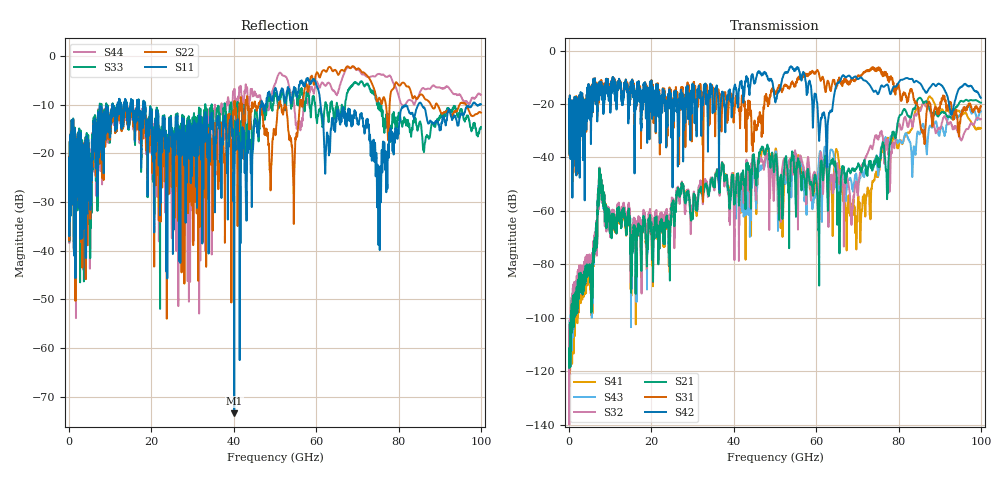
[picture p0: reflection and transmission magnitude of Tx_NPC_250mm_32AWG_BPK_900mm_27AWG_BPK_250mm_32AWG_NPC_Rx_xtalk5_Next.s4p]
! Info: Touchstone file created by Circ.  Input file=Tx_NPC_250mm_32AWG_BPK_900mm_27AWG_BPK_250mm_32AWG_NPC_Rx.circ
# Hz S RI R 50
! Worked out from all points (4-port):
!   10000 points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, 10 MHz to 100 GHz, reference 50 ohm
!   strongest paths, dB at 10 MHz, 25.01 GHz, 50.01 GHz, 75.01 GHz, 100 GHz:
!     S42: -27.5, -19.4, -18.3, -16.3, -17.6
!     S31: -27.5, -18.0, -15.3, -6.7, -20.8
!     S21: -118.8, -57.5, -40.5, -41.2, -19.5
!     S32: -104.9, -55.2, -44.4, -32.7, -25.5
!     S43: -102.8, -57.0, -39.5, -45.9, -22.7
!     S41: -116.7, -58.4, -38.3, -47.3, -29.0
!   lowest |S11| = -73.4 dB at 40.1 GHz (marker M1), VSWR 1.00, Z = 50 - j0.0106 ohm
!   |S11| at or under -10 dB: 18.46 GHz to 46.66 GHz (28.19 GHz wide, 86.6 % of centre); 61.06 GHz to 84.77 GHz (23.71 GHz wide, 32.5 % of centre); 85.69 GHz to 97.84 GHz (12.15 GHz wide, 13.2 % of centre) (the widest 3 of 42)
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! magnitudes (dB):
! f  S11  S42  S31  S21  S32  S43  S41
! 10 MHz  -23.4  -27.5  -27.5  -118.8  -104.9  -102.8  -116.7
! 7.72 GHz  -14.4  -13.8  -13.0  -46.9  -47.3  -47.6  -47.2
! 40.1 GHz  -73.4  -14.2  -23.3  -57.2  -66.6  -56.9  -53.3
! 65 GHz  -11.9  -12.5  -12.7  -48.5  -44.0  -47.5  -37.3
! 69.62 GHz  -11.5  -9.7  -11.0  -44.3  -49.2  -46.2  -62.5
! 87.47 GHz  -13.8  -14.1  -19.3  -21.7  -22.0  -28.8  -17.1
! 100 GHz  -9.9  -17.6  -20.8  -19.5  -25.5  -22.7  -29.0
